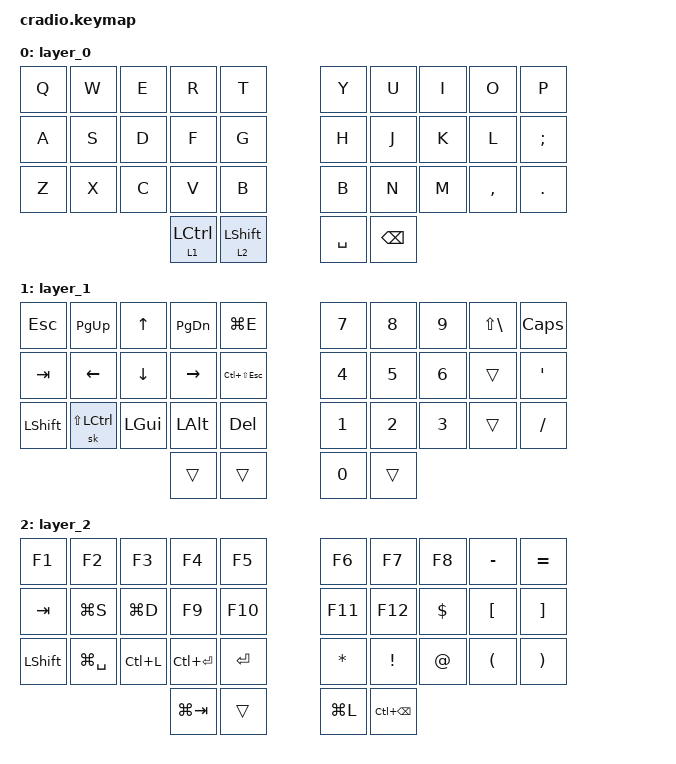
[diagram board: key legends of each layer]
#include <behaviors.dtsi>
#include <dt-bindings/zmk/keys.h>

/ {
    keymap {
        compatible = "zmk,keymap";

        layer_0 {
            bindings = <
&kp Q  &kp W  &kp E  &kp R               &kp T               &kp Y      &kp U          &kp I  &kp O      &kp P
&kp A  &kp S  &kp D  &kp F               &kp G               &kp H      &kp J          &kp K  &kp L      &kp SEMICOLON
&kp Z  &kp X  &kp C  &kp V               &kp B               &kp B      &kp N          &kp M  &kp COMMA  &kp PERIOD
                     &lt 1 LEFT_CONTROL  &lt 2 LEFT_SHIFT    &kp SPACE  &kp BACKSPACE
            >;
        };

        layer_1 {
            bindings = <
&kp ESCAPE      &kp PAGE_UP           &kp UP        &kp PAGE_DOWN  &kp LG(E)             &kp NUMBER_7  &kp NUMBER_8  &kp NUMBER_9  &kp LS(BACKSLASH)  &kp CAPSLOCK
&kp TAB         &kp LEFT              &kp DOWN      &kp RIGHT      &kp LC(LS(ESCAPE))    &kp NUMBER_4  &kp NUMBER_5  &kp NUMBER_6  &trans             &kp SQT
&kp LEFT_SHIFT  &sk LS(LEFT_CONTROL)  &kp LEFT_GUI  &kp LEFT_ALT   &kp DELETE            &kp NUMBER_1  &kp NUMBER_2  &kp NUMBER_3  &trans             &kp SLASH
                                                    &trans         &trans                &kp NUMBER_0  &trans
            >;
        };

        layer_2 {
            bindings = <
&kp F1          &kp F2         &kp F3     &kp F4         &kp F5       &kp F6        &kp F7             &kp F8       &kp MINUS             &kp EQUAL
&kp TAB         &kp LG(S)      &kp LG(D)  &kp F9         &kp F10      &kp F11       &kp F12            &kp DOLLAR   &kp LEFT_BRACKET      &kp RIGHT_BRACKET
&kp LEFT_SHIFT  &kp LG(SPACE)  &kp LC(L)  &kp LC(ENTER)  &kp ENTER    &kp ASTERISK  &kp EXCLAMATION    &kp AT_SIGN  &kp LEFT_PARENTHESIS  &kp RIGHT_PARENTHESIS
                                          &kp LG(TAB)    &trans       &kp LG(L)     &kp LC(BACKSPACE)
            >;
        };
    };
};
